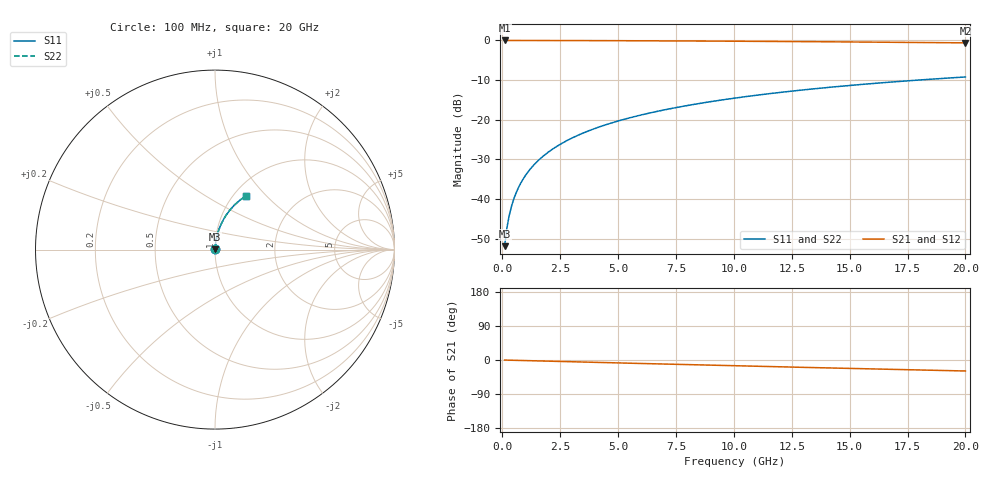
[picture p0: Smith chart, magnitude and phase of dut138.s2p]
! Touchstone file exported from HFSS 2026.1.0
!  File:  C:/ffzhzh/LocalFiles/Ansys_Project_Files/temp_train_BSMRDL_138_1782986345_42984.aedt
!  Generated:  06:00:30 PM Jul  2, 2026
!  Design:  BSMRDL
!  Project:  temp_train_BSMRDL_138_1782986345_42984
! Variables:
!  h_bsmrdl = 5.47um
!  h_ox = 20um
!  h_rdl = 5um
!  h_sub = 80um
!  h_tmrdl = 5um
!  h_tsv = 80um
!  h_via = 3um
!  l_bsmrdl = 339.14um
!  l_sub = 739.14um
!  l_tmrdl = 200um
!  m_sub = 200um
!  pitch = 59.95um
!  r_tsv = 6um
!  s_tmrdl = 10um
!  w_bsmrdl = 15.27um
!  w_sub = 500um
!  w_tmrdl = 12um
!  x_tsv_center1 = 206um
!  x_tsv_center2 = 560.41um
!  x_tsv_center3 = 772.41um
!  x_tsv_center4 = 1126.82um
!  x_tsv_center5 = 1338.82um
!  x_tsv_center6 = 1693.23um
# GHz S MA R 50.000000
! Terminal data exported
! Port[1] = BSM_RDL1_1_T1
! Port[2] = BSM_RDL1_1_T2
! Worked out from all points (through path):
!   200 points, 100 MHz to 20 GHz, reference 50 ohm
!   highest |S21| = -0.01 dB at 100 MHz (marker M1); lowest = -0.6 dB at 20 GHz (marker M2)
!   group delay of S21, straight-line fit = 4.03 ps
!   lowest |S11| = -51.9 dB at 100 MHz (marker M3), VSWR 1.01, Z = 50.2 + j0.204 ohm
!   |S11| at or under -10 dB: start of sweep to 17.96 GHz
!   |S22| runs from -51.9 to -9.2 dB; largest |S21 - S12| = 3.4e-15
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0.1  0.002551 52.8  0.9985 -0.2  0.9985 -0.2  0.002551 52.8
! Gamma 0 0 0 0
! Port Impedance 50 0 50 0
0.2  0.004341 68.3  0.9984 -0.3  0.9984 -0.3  0.004341 68.3
0.3  0.006238 74.4  0.9984 -0.5  0.9984 -0.5  0.006238 74.4
0.4  0.008161 77.6  0.9983 -0.6  0.9983 -0.6  0.008161 77.6
0.5  0.0101 79.5  0.9983 -0.8  0.9983 -0.8  0.0101 79.5
0.7  0.01399 81.7  0.9982 -1.1  0.9982 -1.1  0.01399 81.7
0.8  0.01594 82.3  0.9981 -1.3  0.9981 -1.3  0.01594 82.3
1  0.01984 83.1  0.998 -1.6  0.998 -1.6  0.01984 83.1
1.2  0.02375 83.6  0.9978 -1.9  0.9978 -1.9  0.02375 83.6
1.4  0.02766 83.8  0.9977 -2.2  0.9977 -2.2  0.02766 83.8
1.7  0.0335 83.8  0.9974 -2.7  0.9974 -2.7  0.0335 83.8
2  0.03933 83.7  0.997 -3.1  0.997 -3.1  0.03933 83.7
2.7  0.05286 83.1  0.9961 -4.2  0.9961 -4.2  0.05286 83.1
3.5  0.06816 82.2  0.9948 -5.4  0.9948 -5.4  0.06816 82.2
4.2  0.08141 81.2  0.9935 -6.5  0.9935 -6.5  0.08141 81.2
5  0.0964 80.2  0.9918 -7.7  0.9918 -7.7  0.0964 80.2
6.8  0.1296 77.7  0.9873 -10.4  0.9873 -10.4  0.1296 77.7
8.3  0.1567 75.6  0.9828 -12.6  0.9828 -12.6  0.1567 75.6
10.1  0.1885 73.1  0.9768 -15.2  0.9768 -15.2  0.1885 73.1
13.4  0.2445 68.6  0.9636 -20.0  0.9636 -20.0  0.2445 68.6
16.7  0.2971 64.2  0.9483 -24.6  0.9483 -24.6  0.2971 64.2
20  0.3461 59.8  0.9312 -29.0  0.9312 -29.0  0.3461 59.8
